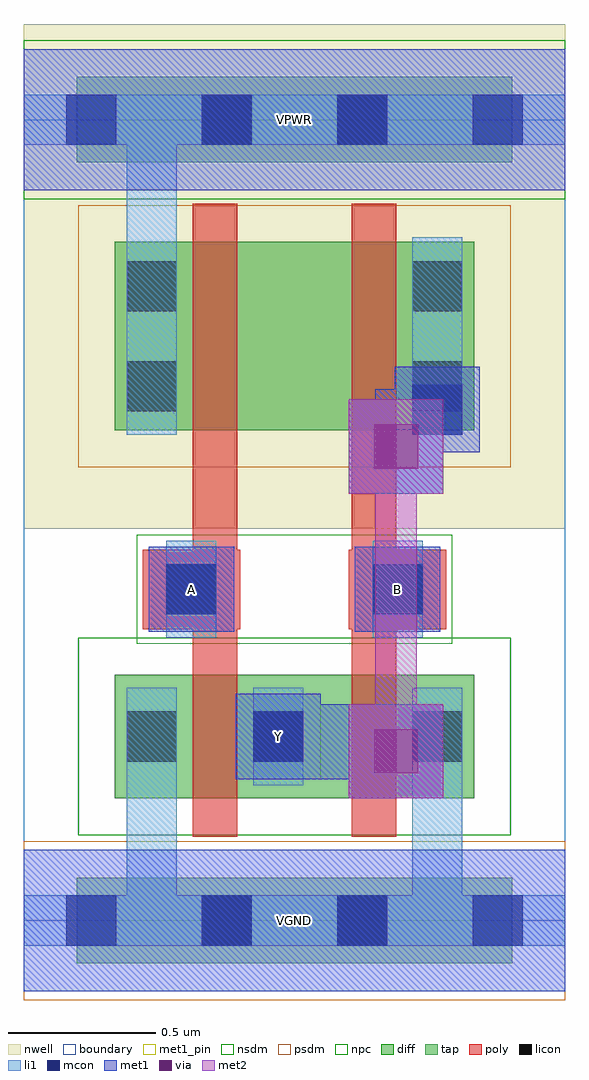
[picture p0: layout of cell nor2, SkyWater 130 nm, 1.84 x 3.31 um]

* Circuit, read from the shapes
.subckt nor2 A B VGND VPWR Y
XM1 Y A VGND VGND sky130_fd_pr__nfet_01v8 w=0.42 l=0.15
XM2 VGND B Y VGND sky130_fd_pr__nfet_01v8 w=0.42 l=0.15
XM3 n1 A VPWR VPWR sky130_fd_pr__pfet_01v8 w=0.64 l=0.15
XM4 Y B n1 VPWR sky130_fd_pr__pfet_01v8 w=0.64 l=0.15
.ends

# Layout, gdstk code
import gdstk
lib = gdstk.Library(unit=1e-6, precision=1e-09)
def R(c, l, rs):  # rectangles x0, y0, x1, y1
    for r in rs: c.add(gdstk.rectangle(r[:2], r[2:], *l))
def A(c, l, x, y, w, h, nx, ny, dx, dy):  # array of equal rectangles
    R(c, l, [(x+i*dx, y+j*dy, x+i*dx+w, y+j*dy+h) for i in range(nx) for j in range(ny)])
nwell = (64, 20)
diff = (65, 20)
tap = (65, 44)
poly = (66, 20)
licon = (66, 44)
li1 = (67, 20)
mcon = (67, 44)
met1_pin = (68, 16)
met1 = (68, 20)
via = (68, 44)
met2 = (69, 20)
nsdm = (93, 44)
psdm = (94, 20)
npc = (95, 20)
boundary = (235, 4)

nor2 = lib.new_cell('nor2')
R(nor2, nwell, [(0,1.33,1.84,3.045)])
R(nor2, diff, [(0.31,0.415,1.53,0.835), (0.31,1.665,1.53,2.305)])
R(nor2, tap, [(0.18,-0.145,1.66,0.145), (0.18,2.575,1.66,2.865)])
R(nor2, poly, [(0.575,0.285,0.725,2.435), (1.115,0.285,1.265,2.435), (0.405,0.99,0.735,1.26), (1.105,0.99,1.435,1.26)])
R(nor2, licon, [(0.605,-0.085,0.775,0.085), (1.065,-0.085,1.235,0.085), (0.35,0.54,0.52,0.71), (0.78,0.54,0.95,0.71), (1.32,0.54,1.49,0.71), (0.485,1.04,0.655,1.21), (1.185,1.04,1.355,1.21), (0.35,1.73,0.52,1.9), (1.32,1.73,1.49,1.9), (0.35,2.07,0.52,2.24), (1.32,2.07,1.49,2.24), (0.605,2.635,0.775,2.805), (1.065,2.635,1.235,2.805)])
R(nor2, li1, [(0,-0.085,1.84,0.085), (0.35,-0.085,0.52,0.79), (1.32,-0.085,1.49,0.79), (0.35,0.46,0.52,0.79), (0.78,0.46,0.95,0.79), (1.32,0.46,1.49,0.79), (0.485,0.96,0.655,1.29), (1.185,0.96,1.355,1.29), (0.35,1.65,0.52,2.32), (0.35,1.65,0.52,2.805), (1.32,1.65,1.49,2.32), (0,2.635,1.84,2.805)])
A(nor2, mcon, 0.145, -0.085, 0.17, 0.17, 4, 2, 0.46, 2.72)
R(nor2, mcon, [(0.78,0.54,0.95,0.71), (0.485,1.04,0.655,1.21), (1.185,1.04,1.355,1.21), (1.32,1.65,1.49,1.82)])
R(nor2, met1_pin, [(0,-0.24,1.84,0.24), (0.72,0.48,1.01,0.77), (0.425,0.98,0.715,1.27), (1.125,0.98,1.415,1.27), (0,2.48,1.84,2.96)])
R(nor2, met1, [(0,-0.24,1.84,0.24), (1.105,0.415,1.425,0.735), (0.72,0.48,1.01,0.77), (1.01,0.48,1.105,0.735), (1.01,0.48,1.105,0.735), (1.01,0.48,1.105,0.735), (0.85,0.505,0.99,0.645), (0.85,0.505,1.335,0.645), (0.99,0.505,1.105,0.645), (0.99,0.505,1.105,0.645), (0.99,0.505,1.105,0.645), (0.99,0.505,1.105,0.645), (0.99,0.505,1.105,0.645), (0.99,0.505,1.105,0.645), (0.99,0.505,1.01,0.645), (0.99,0.505,1.01,0.645), (0.99,0.505,1.01,0.645), (0.99,0.505,1.01,0.645), (0.99,0.505,1.01,0.645), (0.99,0.505,1.01,0.645), (1.01,0.505,1.105,0.645), (1.01,0.505,1.105,0.645), (1.01,0.505,1.105,0.645), (1.01,0.505,1.105,0.645), (0.425,0.98,0.715,1.27), (1.125,0.98,1.415,1.27), (1.105,1.45,1.425,1.77), (1.195,1.54,1.335,1.805), (1.26,1.59,1.55,1.88), (1.195,1.665,1.475,1.805), (0,2.48,1.84,2.96)])
R(nor2, via, [(1.19,0.5,1.34,0.65), (1.19,1.535,1.34,1.685)])
R(nor2, met2, [(1.105,0.415,1.425,0.735), (1.195,0.505,1.335,1.68), (1.105,1.45,1.425,1.77)])
R(nor2, nsdm, [(0.185,0.29,1.655,0.96), (0,2.45,1.84,2.99)])
R(nor2, psdm, [(0,-0.27,1.84,0.27), (0.185,1.54,1.655,2.43)])
R(nor2, npc, [(0.385,0.94,1.455,1.31)])
R(nor2, boundary, [(0,0,1.84,2.72)])
nor2.add(gdstk.Label('A', (0.57,1.125), layer=68, texttype=5))
nor2.add(gdstk.Label('B', (1.27,1.125), layer=68, texttype=5))
nor2.add(gdstk.Label('Y', (0.865,0.625), layer=68, texttype=5))
nor2.add(gdstk.Label('VPWR', (0.92,2.72), layer=68, texttype=5))
nor2.add(gdstk.Label('VGND', (0.92,0), layer=68, texttype=5))
nor2.add(gdstk.Label('A', (0.57,1.125), layer=68, texttype=16))
nor2.add(gdstk.Label('B', (1.27,1.125), layer=68, texttype=16))
nor2.add(gdstk.Label('Y', (0.865,0.625), layer=68, texttype=16))
nor2.add(gdstk.Label('VPWR', (0.92,2.72), layer=68, texttype=16))
nor2.add(gdstk.Label('VGND', (0.92,0), layer=68, texttype=16))

lib.write_gds('nor2.gds')
